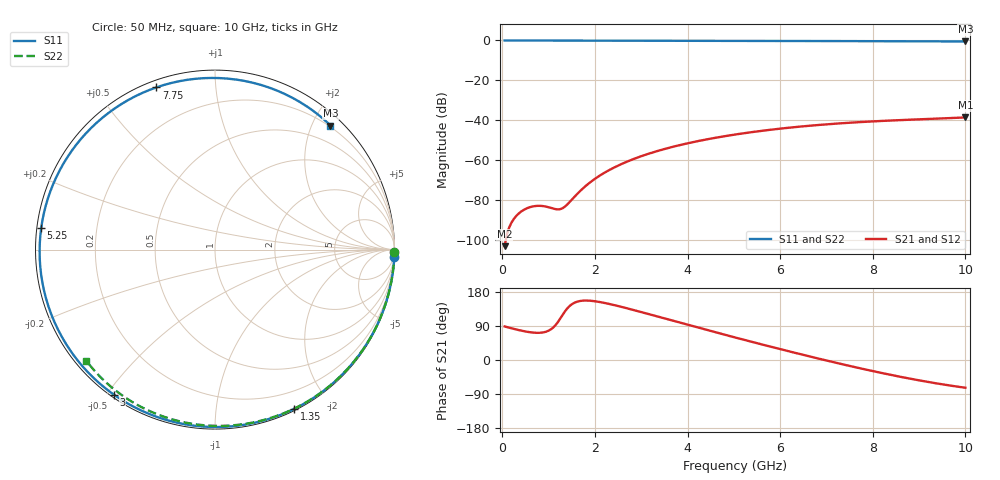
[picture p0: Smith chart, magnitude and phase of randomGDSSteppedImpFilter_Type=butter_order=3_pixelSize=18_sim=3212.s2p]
! freq	dB(S11)	phase(S11)	dB(S12)	phase(S12)
!  dB(S21)	phase(S21)	dB(S22)	phase(S22)
!S-par simulation data
#  GHz  S  DB  R 50
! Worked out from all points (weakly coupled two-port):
!   200 points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, 50 MHz to 10 GHz, reference 50 ohm
!   highest |S21| = -38.51 dB at 10 GHz (marker M1); lowest = -102.9 dB at 50 MHz (marker M2)
!   lowest |S11| = -0.5 dB at 10 GHz (marker M3), VSWR 34.96, Z = 8.94 + j114 ohm
!   |S11| at or under -10 dB: nowhere
!   |S22| runs from -0.5 to 0.0 dB; largest |S21 - S12| = 0
!   S11 on the Smith chart (normalised r, x): 50 MHz: 0, -46; 1.35 GHz: 0.02, -1.61; 3 GHz: 0.01, -0.52; 5.25 GHz: 0.01, +0.06; 7.75 GHz: 0.03, +0.70; 10 GHz: 0.18, +2.29
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0.05  -0.00 -2.5  -102.90 88.6  -102.90 88.6  -0.00 -0.8
0.35  -0.02 -17.3  -86.65 79.1  -86.65 79.1  -0.01 -5.6
0.65  -0.04 -31.8  -83.07 72.5  -83.07 72.5  -0.01 -10.4
1  -0.06 -48.1  -83.42 77.4  -83.42 77.4  -0.02 -16.0
1.35  -0.08 -63.7  -83.16 127.7  -83.16 127.7  -0.03 -21.5
1.5  -0.08 -70.0  -79.68 147.0  -79.68 147.0  -0.03 -23.9
1.75  -0.09 -80.3  -73.81 156.7  -73.81 156.7  -0.04 -27.8
2  -0.10 -90.1  -69.22 155.0  -69.22 155.0  -0.04 -31.6
2.3  -0.11 -101.2  -64.94 148.2  -64.94 148.2  -0.05 -36.2
3  -0.13 -124.9  -57.90 126.5  -57.90 126.5  -0.06 -46.8
3.4  -0.14 -137.2  -54.96 113.2  -54.96 113.2  -0.07 -52.8
4.2  -0.17 -159.8  -50.46 86.4  -50.46 86.4  -0.09 -64.4
5.05  -0.20 178.0  -46.98 58.7  -46.98 58.7  -0.12 -76.3
5.25  -0.21 172.9  -46.30 52.3  -46.30 52.3  -0.12 -79.1
5.95  -0.25 155.5  -44.25 30.3  -44.25 30.3  -0.15 -88.5
6.7  -0.29 136.8  -42.53 7.5  -42.53 7.5  -0.19 -98.3
7.25  -0.32 122.9  -41.53 -8.6  -41.53 -8.6  -0.22 -105.3
7.75  -0.35 109.9  -40.80 -22.6  -40.80 -22.6  -0.26 -111.6
8.35  -0.38 93.9  -40.09 -38.3  -40.09 -38.3  -0.30 -119.1
9.15  -0.43 71.6  -39.32 -57.0  -39.32 -57.0  -0.38 -128.9
9.55  -0.46 60.2  -38.95 -65.1  -38.95 -65.1  -0.42 -133.7
10  -0.50 47.1  -38.51 -73.3  -38.51 -73.3  -0.47 -139.2
